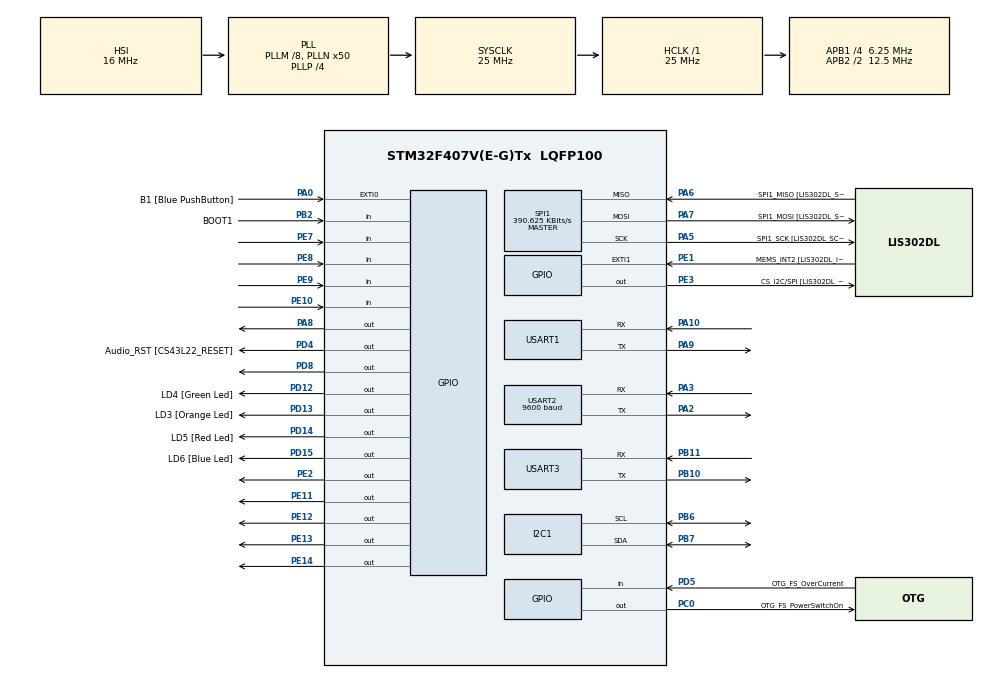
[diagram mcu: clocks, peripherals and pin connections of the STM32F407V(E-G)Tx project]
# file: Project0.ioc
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Dma.Request0=USART2_RX
Dma.USART2_RX.0.Direction=DMA_PERIPH_TO_MEMORY
Dma.USART2_RX.0.FIFOMode=DMA_FIFOMODE_DISABLE
Dma.USART2_RX.0.Instance=DMA1_Stream5
Dma.USART2_RX.0.MemDataAlignment=DMA_MDATAALIGN_BYTE
Dma.USART2_RX.0.MemInc=DMA_MINC_DISABLE
Dma.USART2_RX.0.Mode=DMA_NORMAL
Dma.USART2_RX.0.PeriphDataAlignment=DMA_PDATAALIGN_BYTE
Dma.USART2_RX.0.PeriphInc=DMA_PINC_DISABLE
Dma.USART2_RX.0.Priority=DMA_PRIORITY_LOW
Mcu.Family=STM32F4
Mcu.Name=STM32F407V(E-G)Tx
Mcu.Package=LQFP100
NVIC.DMA1_Stream5_IRQn=true\:5\:0\:true\:false\:true\:false\:true\:true
NVIC.EXTI0_IRQn=true\:0\:0\:true\:false\:true\:true\:true\:true
NVIC.PriorityGroup=NVIC_PRIORITYGROUP_4
NVIC.TIM7_IRQn=true\:0\:0\:false\:false\:true\:false\:true\:true
NVIC.TimeBase=TIM7_IRQn
NVIC.TimeBaseIP=TIM7
NVIC.USART2_IRQn=true\:5\:0\:true\:false\:true\:true\:true\:true
PA0-WKUP.GPIO_Label=B1 [Blue PushButton]
PA0-WKUP.Signal=GPXTI0
PA10.Mode=Asynchronous
PA10.Signal=USART1_RX
PA11.GPIO_Label=OTG_FS_DM
PA11.GPIO_Mode=GPIO_MODE_AF_PP
PA11.GPIO_PuPd=GPIO_NOPULL
PA11.GPIO_Speed=GPIO_SPEED_FREQ_LOW
PA11.Signal=USB_OTG_FS_DM
PA12.GPIO_Label=OTG_FS_DP
PA12.GPIO_Mode=GPIO_MODE_AF_PP
PA12.GPIO_PuPd=GPIO_NOPULL
PA12.GPIO_Speed=GPIO_SPEED_FREQ_LOW
PA12.Signal=USB_OTG_FS_DP
PA13.GPIO_Label=SWDIO
PA13.Mode=Serial_Wire
PA13.Signal=SYS_JTMS-SWDIO
PA14.GPIO_Label=SWCLK
PA14.Mode=Serial_Wire
PA14.Signal=SYS_JTCK-SWCLK
PA2.Mode=Asynchronous
PA2.Signal=USART2_TX
PA3.Mode=Asynchronous
PA3.Signal=USART2_RX
PA4.GPIO_Label=I2S3_WS [CS43L22_LRCK]
PA4.GPIO_Mode=GPIO_MODE_AF_PP
PA4.GPIO_PuPd=GPIO_NOPULL
PA4.GPIO_Speed=GPIO_SPEED_FREQ_LOW
PA4.Signal=I2S3_WS
PA5.GPIO_Label=SPI1_SCK [LIS302DL_SCL/SPC]
PA5.GPIO_Mode=GPIO_MODE_AF_PP
PA5.GPIO_PuPd=GPIO_NOPULL
PA5.GPIO_Speed=GPIO_SPEED_FREQ_LOW
PA5.Mode=Full_Duplex_Master
PA5.Signal=SPI1_SCK
PA6.GPIO_Label=SPI1_MISO [LIS302DL_SDO]
PA6.GPIO_Mode=GPIO_MODE_AF_PP
PA6.GPIO_PuPd=GPIO_NOPULL
PA6.GPIO_Speed=GPIO_SPEED_FREQ_LOW
PA6.Mode=Full_Duplex_Master
PA6.Signal=SPI1_MISO
PA7.GPIO_Label=SPI1_MOSI [LIS302DL_SDA/SDI/SDO]
PA7.GPIO_Mode=GPIO_MODE_AF_PP
PA7.GPIO_PuPd=GPIO_NOPULL
PA7.GPIO_Speed=GPIO_SPEED_FREQ_LOW
PA7.Mode=Full_Duplex_Master
PA7.Signal=SPI1_MOSI
PA8.PinState=GPIO_PIN_SET
PA8.Signal=GPIO_Output
PA9.Mode=Asynchronous
PA9.Signal=USART1_TX
PB10.Mode=Asynchronous
PB10.Signal=USART3_TX
PB11.Mode=Asynchronous
PB11.Signal=USART3_RX
PB2.GPIO_Label=BOOT1
PB2.GPIO_Mode=GPIO_MODE_INPUT
PB2.GPIO_PuPd=GPIO_NOPULL
PB2.Signal=GPIO_Input
PB3.GPIO_Label=SWO
PB3.Signal=SYS_JTDO-SWO
PB6.Mode=I2C
PB6.Signal=I2C1_SCL
PB7.Mode=I2C
PB7.Signal=I2C1_SDA
PC0.GPIO_Label=OTG_FS_PowerSwitchOn
PC0.GPIO_PuPd=GPIO_NOPULL
PC0.GPIO_Speed=GPIO_SPEED_FREQ_LOW
PC0.PinState=GPIO_PIN_SET
PC0.Signal=GPIO_Output
PC10.GPIO_Label=I2S3_SCK [CS43L22_SCLK]
PC10.GPIO_Mode=GPIO_MODE_AF_PP
PC10.GPIO_PuPd=GPIO_NOPULL
PC10.GPIO_Speed=GPIO_SPEED_FREQ_LOW
PC10.Signal=I2S3_CK
PC12.GPIO_Label=I2S3_SD [CS43L22_SDIN]
PC12.GPIO_Mode=GPIO_MODE_AF_PP
PC12.GPIO_PuPd=GPIO_NOPULL
PC12.GPIO_Speed=GPIO_SPEED_FREQ_LOW
PC12.Signal=I2S3_SD
PC14-OSC32_IN.GPIO_Label=PC14-OSC32_IN
PC14-OSC32_IN.Signal=RCC_OSC32_IN
PC15-OSC32_OUT.GPIO_Label=PC15-OSC32_OUT
PC15-OSC32_OUT.Signal=RCC_OSC32_OUT
PC3.GPIO_Label=PDM_OUT [MP45DT02_DOUT]
PC3.GPIO_Mode=GPIO_MODE_AF_PP
PC3.GPIO_PuPd=GPIO_NOPULL
PC3.GPIO_Speed=GPIO_SPEED_FREQ_LOW
PC3.Signal=I2S2_SD
PC7.GPIO_Label=I2S3_MCK [CS43L22_MCLK]
PC7.GPIO_Mode=GPIO_MODE_AF_PP
PC7.GPIO_PuPd=GPIO_NOPULL
PC7.GPIO_Speed=GPIO_SPEED_FREQ_LOW
PC7.Signal=I2S3_MCK
PD12.GPIO_Label=LD4 [Green Led]
PD12.GPIO_PuPd=GPIO_NOPULL
PD12.GPIO_Speed=GPIO_SPEED_FREQ_LOW
PD12.Signal=GPIO_Output
PD13.GPIO_Label=LD3 [Orange Led]
PD13.GPIO_PuPd=GPIO_NOPULL
PD13.GPIO_Speed=GPIO_SPEED_FREQ_LOW
PD13.Signal=GPIO_Output
PD14.GPIO_Label=LD5 [Red Led]
PD14.GPIO_PuPd=GPIO_NOPULL
PD14.GPIO_Speed=GPIO_SPEED_FREQ_LOW
PD14.Signal=GPIO_Output
PD15.GPIO_Label=LD6 [Blue Led]
PD15.GPIO_PuPd=GPIO_NOPULL
PD15.GPIO_Speed=GPIO_SPEED_FREQ_LOW
PD15.Signal=GPIO_Output
PD4.GPIO_Label=Audio_RST [CS43L22_RESET]
PD4.GPIO_PuPd=GPIO_NOPULL
PD4.GPIO_Speed=GPIO_SPEED_FREQ_LOW
PD4.Signal=GPIO_Output
PD5.GPIO_Label=OTG_FS_OverCurrent
PD5.GPIO_Mode=GPIO_MODE_INPUT
PD5.GPIO_PuPd=GPIO_NOPULL
PD5.Signal=GPIO_Input
PD8.PinState=GPIO_PIN_SET
PD8.Signal=GPIO_Output
PE1.GPIO_Label=MEMS_INT2 [LIS302DL_INT2]
PE1.GPIO_ModeDefaultEXTI=GPIO_MODE_EVT_RISING
PE1.GPIO_PuPd=GPIO_NOPULL
PE1.Signal=GPXTI1
PE10.GPIO_PuPd=GPIO_PULLUP
PE10.Signal=GPIO_Input
PE11.Signal=GPIO_Output
PE12.Signal=GPIO_Output
PE13.Signal=GPIO_Output
PE14.Signal=GPIO_Output
PE2.Signal=GPIO_Output
PE3.GPIO_Label=CS_I2C/SPI [LIS302DL_CS_I2C/SPI]
PE3.GPIO_PuPd=GPIO_NOPULL
PE3.GPIO_Speed=GPIO_SPEED_FREQ_LOW
PE3.Signal=GPIO_Output
PE7.GPIO_PuPd=GPIO_PULLUP
PE7.Signal=GPIO_Input
PE8.GPIO_PuPd=GPIO_PULLUP
PE8.Signal=GPIO_Input
PE9.GPIO_PuPd=GPIO_PULLUP
PE9.Signal=GPIO_Input
PH0-OSC_IN.GPIO_Label=PH0-OSC_IN
PH0-OSC_IN.Signal=RCC_OSC_IN
PH1-OSC_OUT.GPIO_Label=PH1-OSC_OUT
PH1-OSC_OUT.Signal=RCC_OSC_OUT
ProjectManager.HeapSize=0x200
ProjectManager.StackSize=0x400
ProjectManager.TargetToolchain=STM32CubeIDE
RCC.48MHZClocksFreq_Value=14285714.285714285
RCC.AHBFreq_Value=25000000
RCC.APB1CLKDivider=RCC_HCLK_DIV4
RCC.APB1Freq_Value=6250000
RCC.APB1TimFreq_Value=12500000
RCC.APB2CLKDivider=RCC_HCLK_DIV2
RCC.APB2Freq_Value=12500000
RCC.APB2TimFreq_Value=25000000
RCC.CortexFreq_Value=25000000
RCC.HCLKFreq_Value=25000000
RCC.HSE_VALUE=8000000
RCC.HSI_VALUE=16000000
RCC.LSE_VALUE=32768
RCC.PLLM=8
RCC.PLLN=50
RCC.PLLP=RCC_PLLP_DIV4
RCC.PLLQ=7
RCC.SYSCLKFreq_VALUE=25000000
RCC.SYSCLKSource=RCC_SYSCLKSOURCE_PLLCLK
RCC.VCOOutputFreq_Value=100000000
SPI1.BaudRatePrescaler=SPI_BAUDRATEPRESCALER_32
SPI1.CalculateBaudRate=390.625 KBits/s
SPI1.Direction=SPI_DIRECTION_2LINES
SPI1.Mode=SPI_MODE_MASTER
SPI1.VirtualType=VM_MASTER
USART1.VirtualMode=VM_ASYNC
USART2.BaudRate=9600
USART2.VirtualMode=VM_ASYNC
USART3.VirtualMode=VM_ASYNC
VP_SYS_VS_tim7.Mode=TIM7
board=STM32F407G-DISC1

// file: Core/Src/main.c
/* USER CODE BEGIN Header */
/**
  ******************************************************************************
  * @file           : main.c
  * @brief          : Main program body
  ******************************************************************************
  * @attention
  *
  * Copyright (c) 2025 STMicroelectronics.
  * All rights reserved.
  *
  * This software is licensed under terms that can be found in the LICENSE file
  * in the root directory of this software component.
  * If no LICENSE file comes with this software, it is provided AS-IS.
  *
  ******************************************************************************
  */
/* USER CODE END Header */
#include "main.h"
#include "dma.h"
#include "i2c.h"
#include "spi.h"
#include "usart.h"
#include "gpio.h"

/* USER CODE BEGIN Includes */
#include "FreeRTOS.h"
#include "task.h"
#include "queue.h"
#include "lcd1602_i2c.h"
#include "usart.h"
#include "rc522.h"
#include "card_db.h"
#include <string.h>
#include <stdio.h>
/* USER CODE END Includes */

/* USER CODE BEGIN PTD */
// NFC mode: normal or add-card
typedef enum {
    NFC_MODE_NORMAL = 0,
    NFC_MODE_ADD_CARD = 1,
    NFC_MODE_DELETE_CARD = 2
} NfcMode_t;

static volatile NfcMode_t gNfcMode = NFC_MODE_NORMAL;

typedef struct {
    char line1[17];
    char line2[17];
} LcdMsg_t;
/* USER CODE END PTD */

/* USER CODE BEGIN PD */
#define PCF8574_ADDRESS  0b01001110   // = 0x4E
/* USER CODE END PD */

/* USER CODE BEGIN PV */

#define BT_UART   huart2   // HC-05
#define DBG_UART  huart3   // TTL / PC Debug

QueueHandle_t xEventQueue;     // BT / NFC / Keypad → StateTask
QueueHandle_t xLcdQ;
QueueHandle_t xBtRxQ;

lcd1602_HandleTypeDef hlcd;
uint8_t gBtRxByte;
static volatile uint8_t gIsUnlocked = 0;

/* USER CODE END PV */

void SystemClock_Config(void);
/* USER CODE BEGIN PFP */
void vBtTask(void *argument);
void vStateTask(void *argument);
void vLcdTask(void *argument);
void vKeypadTask(void *argument);
void vNfcTask(void *argument);

carddb_status_t Nfc_AddCard(const uint8_t uid[5]);
carddb_status_t Nfc_DeleteCard(const uint8_t uid[5]);
bool           Nfc_IsAuthorized(const uint8_t uid[5]);

/* USER CODE END PFP */

int main(void)
{
HAL_Init();
SystemClock_Config();

MX_GPIO_Init();
MX_DMA_Init();
MX_I2C1_Init();
MX_SPI1_Init();
MX_USART1_UART_Init();
MX_USART2_UART_Init();
MX_USART3_UART_Init();

/* USER CODE BEGIN 2 */
const char *bootMsg = "System boot\r\n";
HAL_UART_Transmit(&huart3, (uint8_t*)bootMsg, strlen(bootMsg), HAL_MAX_DELAY);

MFRC522_Init();

uint8_t ver = Read_MFRC522(VersionReg);
uint8_t txc = Read_MFRC522(TxControlReg);
char buf[64];
int len = sprintf(buf,
                  "RC522 Ver=0x%02X, TxControl=0x%02X\r\n",
                  ver, txc);
HAL_UART_Transmit(&huart3, (uint8_t*)buf, len, HAL_MAX_DELAY);

carddb_init();

void debug_print_carddb_codes(void)
{
    char dbg[64];

    sprintf(dbg, "CARDDB_OK=%d\r\n", (int)CARDDB_OK);
    HAL_UART_Transmit(&DBG_UART, (uint8_t*)dbg, strlen(dbg), HAL_MAX_DELAY);

    sprintf(dbg, "CARDDB_ERR_FULL=%d\r\n", (int)CARDDB_ERR_FULL);
    HAL_UART_Transmit(&DBG_UART, (uint8_t*)dbg, strlen(dbg), HAL_MAX_DELAY);

    sprintf(dbg, "CARDDB_ERR_FLASH=%d\r\n", (int)CARDDB_ERR_FLASH);
    HAL_UART_Transmit(&DBG_UART, (uint8_t*)dbg, strlen(dbg), HAL_MAX_DELAY);

    sprintf(dbg, "CARDDB_ERR_NOT_FOUND=%d\r\n", (int)CARDDB_ERR_NOT_FOUND);
    HAL_UART_Transmit(&DBG_UART, (uint8_t*)dbg, strlen(dbg), HAL_MAX_DELAY);
}
debug_print_carddb_codes();
card_entry_t snapshot[CARD_DB_MAX_CARDS];
int card_cnt = carddb_get_all(snapshot, CARD_DB_MAX_CARDS);

if (card_cnt == 0)
{
    uint8_t defaultUid[5] = { 0x43, 0x0D, 0xD1, 0x13, 0x8C };
    carddb_status_t st = Nfc_AddCard(defaultUid);

    const char *msg;
    if (st == CARDDB_OK)
        msg = "CardDB empty, add default card\r\n";
    else
        msg = "CardDB empty, add default card FAILED\r\n";

    HAL_UART_Transmit(&DBG_UART, (uint8_t*)msg, strlen(msg), HAL_MAX_DELAY);
}
else
{
    const char *msg = "Whitelist loaded from CardDB\r\n";
    HAL_UART_Transmit(&DBG_UART, (uint8_t*)msg, strlen(msg), HAL_MAX_DELAY);
}

  xEventQueue = xQueueCreate(8,  sizeof(uint8_t));
  xLcdQ   = xQueueCreate(4,  sizeof(LcdMsg_t));
  xBtRxQ  = xQueueCreate(32, sizeof(uint8_t));

  if (xEventQueue == NULL || xLcdQ == NULL || xBtRxQ == NULL)
  {
      const char *err = "Queue create failed!\r\n";
      HAL_UART_Transmit(&huart3, (uint8_t*)err, strlen(err), HAL_MAX_DELAY);
      Error_Handler();
  }

  HAL_UART_Receive_DMA(&huart2, &gBtRxByte, 1);

  xTaskCreate(vBtTask,     "BT",     256, NULL, tskIDLE_PRIORITY + 2, NULL);
  xTaskCreate(vKeypadTask, "KEYPAD", 256, NULL, tskIDLE_PRIORITY + 2, NULL);
  xTaskCreate(vLcdTask,    "LCD",    256, NULL, tskIDLE_PRIORITY + 1, NULL);
  xTaskCreate(vStateTask,  "STATE",  256, NULL, tskIDLE_PRIORITY + 3, NULL);
  xTaskCreate(vNfcTask,    "NFC",    256, NULL, tskIDLE_PRIORITY + 2, NULL);

  vTaskStartScheduler();

  /* USER CODE END 2 */

  while (1)
  {
  }
}

void SystemClock_Config(void)
{
  RCC_OscInitTypeDef RCC_OscInitStruct = {0};
  RCC_ClkInitTypeDef RCC_ClkInitStruct = {0};

  /** Configure the main internal regulator output voltage
  */
  __HAL_RCC_PWR_CLK_ENABLE();
  __HAL_PWR_VOLTAGESCALING_CONFIG(PWR_REGULATOR_VOLTAGE_SCALE1);

  /** Initializes the RCC Oscillators according to the specified parameters
  * in the RCC_OscInitTypeDef structure.
  */
  RCC_OscInitStruct.OscillatorType = RCC_OSCILLATORTYPE_HSI;
  RCC_OscInitStruct.HSIState = RCC_HSI_ON;
  RCC_OscInitStruct.HSICalibrationValue = RCC_HSICALIBRATION_DEFAULT;
  RCC_OscInitStruct.PLL.PLLState = RCC_PLL_ON;
  RCC_OscInitStruct.PLL.PLLSource = RCC_PLLSOURCE_HSI;
  RCC_OscInitStruct.PLL.PLLM = 8;
  RCC_OscInitStruct.PLL.PLLN = 50;
  RCC_OscInitStruct.PLL.PLLP = RCC_PLLP_DIV4;
  RCC_OscInitStruct.PLL.PLLQ = 7;
  if (HAL_RCC_OscConfig(&RCC_OscInitStruct) != HAL_OK)
  {
    Error_Handler();
  }

  /** Initializes the CPU, AHB and APB buses clocks
  */
  RCC_ClkInitStruct.ClockType = RCC_CLOCKTYPE_HCLK|RCC_CLOCKTYPE_SYSCLK
                              |RCC_CLOCKTYPE_PCLK1|RCC_CLOCKTYPE_PCLK2;
  RCC_ClkInitStruct.SYSCLKSource = RCC_SYSCLKSOURCE_PLLCLK;
  RCC_ClkInitStruct.AHBCLKDivider = RCC_SYSCLK_DIV1;
  RCC_ClkInitStruct.APB1CLKDivider = RCC_HCLK_DIV4;
  RCC_ClkInitStruct.APB2CLKDivider = RCC_HCLK_DIV2;

  if (HAL_RCC_ClockConfig(&RCC_ClkInitStruct, FLASH_LATENCY_0) != HAL_OK)
  {
    Error_Handler();
  }
}

/* USER CODE BEGIN 4 */
#define PIN_LEN 4
const char unlockPin[PIN_LEN + 1] = "1234";
const char lockPin[PIN_LEN + 1]   = "0000";

carddb_status_t Nfc_AddCard(const uint8_t uid[5])
{
    return carddb_add(uid);
}

carddb_status_t Nfc_DeleteCard(const uint8_t uid[5])
{
    return carddb_remove(uid);
}

bool Nfc_IsAuthorized(const uint8_t uid[5])
{
    return (carddb_check(uid) != 0);
}

void RC522_TestLoop(void)
{
    uint8_t status;
    uint8_t atqa[2];
    uint8_t uid[5];
    char    msg[100];

    while (1)
    {
        status = MFRC522_Request(PICC_REQIDL, atqa);

        if (status == MI_OK)
        {
            status = MFRC522_Anticoll(uid);
            if (status == MI_OK)
            {
                int len = sprintf(msg,
                    "Card! ATQA=%02X %02X, UID=%02X %02X %02X %02X %02X\r\n",
                    atqa[0], atqa[1],
                    uid[0], uid[1], uid[2], uid[3], uid[4]);
                HAL_UART_Transmit(&huart3, (uint8_t*)msg, len, HAL_MAX_DELAY);

                HAL_Delay(500);
            }
            else
            {
                int len = sprintf(msg, "Anticoll failed, status=%d\r\n", status);
                HAL_UART_Transmit(&huart3, (uint8_t*)msg, len, HAL_MAX_DELAY);
            }
        }
        else
        {
            int len = sprintf(msg, "No card, status=%d\r\n", status);
            HAL_UART_Transmit(&huart3, (uint8_t*)msg, len, HAL_MAX_DELAY);
            HAL_Delay(500);
        }
    }
}

static char read_keypad(void)
{
    static const char keys[4][4] = {
        {'1','2','3','A'},
        {'4','5','6','B'},
        {'7','8','9','C'},
        {'*','0','#','D'}
    };

    for (int col = 0; col < 4; col++)
    {
        HAL_GPIO_WritePin(GPIOE, GPIO_PIN_11, (col == 0) ? GPIO_PIN_RESET : GPIO_PIN_SET);
        HAL_GPIO_WritePin(GPIOE, GPIO_PIN_12, (col == 1) ? GPIO_PIN_RESET : GPIO_PIN_SET);
        HAL_GPIO_WritePin(GPIOE, GPIO_PIN_13, (col == 2) ? GPIO_PIN_RESET : GPIO_PIN_SET);
        HAL_GPIO_WritePin(GPIOE, GPIO_PIN_14, (col == 3) ? GPIO_PIN_RESET : GPIO_PIN_SET);

        vTaskDelay(pdMS_TO_TICKS(3));

        if (HAL_GPIO_ReadPin(GPIOE, GPIO_PIN_7) == GPIO_PIN_RESET)  return keys[0][col];
        if (HAL_GPIO_ReadPin(GPIOE, GPIO_PIN_8) == GPIO_PIN_RESET)  return keys[1][col];
        if (HAL_GPIO_ReadPin(GPIOE, GPIO_PIN_9) == GPIO_PIN_RESET)  return keys[2][col];
        if (HAL_GPIO_ReadPin(GPIOE, GPIO_PIN_10) == GPIO_PIN_RESET) return keys[3][col];
    }

    return '\0';
}

void vKeypadTask(void *argument)
{
    char pinBuf[PIN_LEN + 1];
    uint8_t idx = 0;
    char key;
    char lastKey = '\0';
    LcdMsg_t msg;

    snprintf(msg.line1, sizeof(msg.line1), "LOCKED");
    snprintf(msg.line2, sizeof(msg.line2), "PIN: ----");
    xQueueSend(xLcdQ, &msg, 0);

    for (;;)
    {
        char curKey = read_keypad();

        if (curKey == '\0')
        {
            lastKey = '\0';
            vTaskDelay(pdMS_TO_TICKS(20));
            continue;
        }

        if (curKey == lastKey)
        {
            vTaskDelay(pdMS_TO_TICKS(20));
            continue;
        }

        lastKey = curKey;
        key = curKey;

        if (key >= '0' && key <= '9')
        {
            if (idx < PIN_LEN)
            {
                pinBuf[idx++] = key;
            }
        }
        else if (key == '*')
        {
            idx = 0;
        }
        else if (key == 'A')
        {
            if (!gIsUnlocked)
            {
                snprintf(msg.line1, sizeof(msg.line1), "LOCKED");
                snprintf(msg.line2, sizeof(msg.line2), "UNLOCK FIRST");
                xQueueSend(xLcdQ, &msg, 0);

                const char *btmsg = "DENY ADD: LOCKED\r\n";
                HAL_UART_Transmit(&BT_UART, (uint8_t *)btmsg, strlen(btmsg), HAL_MAX_DELAY);

                vTaskDelay(pdMS_TO_TICKS(800));
                snprintf(msg.line1, sizeof(msg.line1), "LOCKED");
                snprintf(msg.line2, sizeof(msg.line2), "PIN: ----");
                xQueueSend(xLcdQ, &msg, 0);
                continue;
            }

            gNfcMode = NFC_MODE_ADD_CARD;

            snprintf(msg.line1, sizeof(msg.line1), "ADD CARD MODE");
            snprintf(msg.line2, sizeof(msg.line2), "TAP CARD...");
            xQueueSend(xLcdQ, &msg, 0);

            const char *btmsg = "ENTER ADD CARD MODE\r\n";
            HAL_UART_Transmit(&BT_UART, (uint8_t *)btmsg, strlen(btmsg), HAL_MAX_DELAY);

            idx = 0;
            continue;
        }

        else if (key == 'B')
        {
            if (!gIsUnlocked)
            {
                snprintf(msg.line1, sizeof(msg.line1), "LOCKED");
                snprintf(msg.line2, sizeof(msg.line2), "UNLOCK FIRST");
                xQueueSend(xLcdQ, &msg, 0);

                const char *btmsg = "DENY DELETE: LOCKED\r\n";
                HAL_UART_Transmit(&BT_UART, (uint8_t *)btmsg, strlen(btmsg), HAL_MAX_DELAY);

                vTaskDelay(pdMS_TO_TICKS(800));
                snprintf(msg.line1, sizeof(msg.line1), "LOCKED");
                snprintf(msg.line2, sizeof(msg.line2), "PIN: ----");
                xQueueSend(xLcdQ, &msg, 0);
                continue;
            }

            gNfcMode = NFC_MODE_DELETE_CARD;

            snprintf(msg.line1, sizeof(msg.line1), "DEL CARD MODE");
            snprintf(msg.line2, sizeof(msg.line2), "TAP CARD...");
            xQueueSend(xLcdQ, &msg, 0);

            const char *btmsg = "ENTER DELETE CARD MODE\r\n";
            HAL_UART_Transmit(&BT_UART, (uint8_t*)btmsg, strlen(btmsg), HAL_MAX_DELAY);

            idx = 0;
            continue;
        }

        else if (key == 'C')
        {
            if (gIsUnlocked)
            {
                gNfcMode = NFC_MODE_NORMAL;

                uint8_t evt = '0';
                xQueueSend(xEventQueue, &evt, portMAX_DELAY);

                const char *btmsg = "KEYPAD C -> LOCK\r\n";
                HAL_UART_Transmit(&BT_UART, (uint8_t*)btmsg, strlen(btmsg), HAL_MAX_DELAY);

                idx = 0;
                vTaskDelay(pdMS_TO_TICKS(200));
            }
            else
            {
                snprintf(msg.line1, sizeof(msg.line1), "ALREADY LOCK");
                snprintf(msg.line2, sizeof(msg.line2), "PIN: ----");
                xQueueSend(xLcdQ, &msg, 0);
                vTaskDelay(pdMS_TO_TICKS(500));
            }

            continue;
        }
        else if (key == '#')
        {
            pinBuf[idx] = '\0';

            uint8_t evt;
            if (idx == PIN_LEN && strncmp(pinBuf, unlockPin, PIN_LEN) == 0)
            {
                evt = '1'; // UNLOCK
                xQueueSend(xEventQueue, &evt, portMAX_DELAY);

                const char *btmsg = "KEYPAD UNLOCK\r\n";
                HAL_UART_Transmit(&BT_UART, (uint8_t *)btmsg, strlen(btmsg), HAL_MAX_DELAY);

                snprintf(msg.line1, sizeof(msg.line1), "UNLOCK");
                snprintf(msg.line2, sizeof(msg.line2), "PIN OK");
                xQueueSend(xLcdQ, &msg, 0);

                idx = 0;
                vTaskDelay(pdMS_TO_TICKS(200));
            }
            else if (idx == PIN_LEN && strncmp(pinBuf, lockPin, PIN_LEN) == 0)
            {
                evt = '0'; // LOCK
                xQueueSend(xEventQueue, &evt, portMAX_DELAY);

                const char *btmsg = "KEYPAD LOCK\r\n";
                HAL_UART_Transmit(&BT_UART, (uint8_t *)btmsg, strlen(btmsg), HAL_MAX_DELAY);

                snprintf(msg.line1, sizeof(msg.line1), "LOCK");
                snprintf(msg.line2, sizeof(msg.line2), "PIN OK");
                xQueueSend(xLcdQ, &msg, 0);

                idx = 0;
                vTaskDelay(pdMS_TO_TICKS(200));
            }
            else
            {
                const char *btmsg = "KEYPAD WRONG PIN\r\n";
                HAL_UART_Transmit(&BT_UART, (uint8_t *)btmsg, strlen(btmsg), HAL_MAX_DELAY);

                snprintf(msg.line1, sizeof(msg.line1), "WRONG PIN");
                snprintf(msg.line2, sizeof(msg.line2), "TRY AGAIN");
                xQueueSend(xLcdQ, &msg, 0);

                idx = 0;
                vTaskDelay(pdMS_TO_TICKS(500));
                snprintf(msg.line1, sizeof(msg.line1), "LOCKED");
                snprintf(msg.line2, sizeof(msg.line2), "PIN: ----");
                xQueueSend(xLcdQ, &msg, 0);
            }

            continue;
        }

        memset(msg.line1, ' ', sizeof(msg.line1));
        memset(msg.line2, ' ', sizeof(msg.line2));
        snprintf(msg.line1, sizeof(msg.line1), "LOCKED");
        snprintf(msg.line2, sizeof(msg.line2), "PIN: ");

        for (int i = 0; i < idx && i < PIN_LEN; i++)
        {
            msg.line2[5 + i] = '*';
        }
        msg.line2[5 + PIN_LEN] = '\0';

        xQueueSend(xLcdQ, &msg, 0);
    }
}

void vNfcTask(void *argument)
{
    uint8_t status;
    uint8_t tagType[2] = {0};
    uint8_t uid[5]     = {0};
    LcdMsg_t msg;
    char dbg[80];

    HAL_UART_Transmit(&DBG_UART,
                      (uint8_t *)"NFC TASK START\r\n",
                      strlen("NFC TASK START\r\n"),
                      HAL_MAX_DELAY);

    for (;;)
    {
        // heart beat debug
        HAL_UART_Transmit(&DBG_UART,
                          (uint8_t *)"NFC: loop...\r\n",
                          strlen("NFC: loop...\r\n"),
                          HAL_MAX_DELAY);

        // 1) scan
        status = MFRC522_Request(PICC_REQIDL, tagType);

        // print status
        int len = sprintf(dbg, "NFC: Request status=%d\r\n", status);
        HAL_UART_Transmit(&DBG_UART, (uint8_t *)dbg, len, HAL_MAX_DELAY);

        if (status == MI_OK)
        {
            len = sprintf(dbg,
                          "NFC: Card detected, ATQA=%02X %02X\r\n",
                          tagType[0], tagType[1]);
            HAL_UART_Transmit(&DBG_UART, (uint8_t *)dbg, len, HAL_MAX_DELAY);

            status = MFRC522_Anticoll(uid);

            len = sprintf(dbg, "NFC: Anticoll status=%d\r\n", status);
            HAL_UART_Transmit(&DBG_UART, (uint8_t *)dbg, len, HAL_MAX_DELAY);

            if (status == MI_OK)
            {
                len = sprintf(dbg,
                              "NFC: UID=%02X %02X %02X %02X %02X\r\n",
                              uid[0], uid[1], uid[2], uid[3], uid[4]);
                HAL_UART_Transmit(&DBG_UART, (uint8_t *)dbg, len, HAL_MAX_DELAY);

                snprintf(msg.line1, sizeof(msg.line1), "CARD DETECTED");
                snprintf(msg.line2, sizeof(msg.line2),
                         "%02X%02X%02X%02X",
                         uid[0], uid[1], uid[2], uid[3]);
                xQueueSend(xLcdQ, &msg, 0);

                if (gNfcMode == NFC_MODE_ADD_CARD)
                {
                    HAL_UART_Transmit(&DBG_UART,
                                    (uint8_t *)"NFC: ADD_CARD mode\r\n",
                                    strlen("NFC: ADD_CARD mode\r\n"),
                                    HAL_MAX_DELAY);

                    carddb_status_t st = Nfc_AddCard(uid);

                    if (st == CARDDB_OK)
                    {
                        const char *btmsg = "ADD CARD OK\r\n";
                        HAL_UART_Transmit(&BT_UART,
                                        (uint8_t *)btmsg,
                                        strlen(btmsg),
                                        HAL_MAX_DELAY);

                        snprintf(msg.line1, sizeof(msg.line1), "CARD SAVED");
                        snprintf(msg.line2, sizeof(msg.line2), "UID ADDED");
                        xQueueSend(xLcdQ, &msg, 0);
                    }
                    else if (st == CARDDB_ERR_FULL)
                    {
                        const char *btmsg = "ADD FAIL: FLASH FULL\r\n";
                        HAL_UART_Transmit(&BT_UART,
                                        (uint8_t *)btmsg,
                                        strlen(btmsg),
                                        HAL_MAX_DELAY);

                        snprintf(msg.line1, sizeof(msg.line1), "ADD FAIL");
                        snprintf(msg.line2, sizeof(msg.line2), "FLASH FULL");
                        xQueueSend(xLcdQ, &msg, 0);
                    }
                    else
                    {
                        char dbg2[64];
                        int len2 = sprintf(dbg2, "ADD ERR, st=%d\r\n", (int)st);
                        HAL_UART_Transmit(&DBG_UART, (uint8_t*)dbg2, len2, HAL_MAX_DELAY);
                        const char *btmsg = "ADD FAIL: FLASH ERR\r\n";
                        HAL_UART_Transmit(&BT_UART,
                                        (uint8_t *)btmsg,
                                        strlen(btmsg),
                                        HAL_MAX_DELAY);

                        snprintf(msg.line1, sizeof(msg.line1), "ADD FAIL");
                        snprintf(msg.line2, sizeof(msg.line2), "FLASH ERR");
                        xQueueSend(xLcdQ, &msg, 0);
                    }

                    gNfcMode = NFC_MODE_NORMAL;
                    vTaskDelay(pdMS_TO_TICKS(1000));
                }

                else if (gNfcMode == NFC_MODE_DELETE_CARD)
                {
                    HAL_UART_Transmit(&DBG_UART,
                                    (uint8_t *)"NFC: DELETE_CARD mode\r\n",
                                    strlen("NFC: DELETE_CARD mode\r\n"),
                                    HAL_MAX_DELAY);

                carddb_status_t st = Nfc_DeleteCard(uid);

                if (st == CARDDB_OK)
                {
                    const char *btmsg = "DELETE OK\r\n";
                    HAL_UART_Transmit(&BT_UART,
                                    (uint8_t *)btmsg,
                                    strlen(btmsg),
                                    HAL_MAX_DELAY);

                    snprintf(msg.line1, sizeof(msg.line1), "CARD DELETED");
                    snprintf(msg.line2, sizeof(msg.line2), "SUCCESS");
                    xQueueSend(xLcdQ, &msg, 0);
                }
                else if (st == CARDDB_ERR_NOT_FOUND)
                {
                    const char *btmsg = "DELETE FAIL\r\n";
                    HAL_UART_Transmit(&BT_UART,
                                    (uint8_t *)btmsg,
                                    strlen(btmsg),
                                    HAL_MAX_DELAY);

                    snprintf(msg.line1, sizeof(msg.line1), "DELETE FAIL");
                    snprintf(msg.line2, sizeof(msg.line2), "NOT FOUND");
                    xQueueSend(xLcdQ, &msg, 0);
                }
                else
                {
                    char dbg2[64];
                    int len2 = sprintf(dbg2, "DEL ERR, st=%d\r\n", (int)st);
                    HAL_UART_Transmit(&DBG_UART, (uint8_t*)dbg2, len2, HAL_MAX_DELAY);
                    const char *btmsg = "DELETE FAIL: FLASH ERR\r\n";
                    HAL_UART_Transmit(&BT_UART,
                                    (uint8_t *)btmsg,
                                    strlen(btmsg),
                                    HAL_MAX_DELAY);

                    snprintf(msg.line1, sizeof(msg.line1), "DELETE FAIL");
                    snprintf(msg.line2, sizeof(msg.line2), "FLASH ERR");
                    xQueueSend(xLcdQ, &msg, 0);
                }

                    gNfcMode = NFC_MODE_NORMAL;
                    vTaskDelay(pdMS_TO_TICKS(800));
                }

                else
                {
                    HAL_UART_Transmit(&DBG_UART,
                                      (uint8_t *)"NFC: NORMAL mode\r\n",
                                      strlen("NFC: NORMAL mode\r\n"),
                                      HAL_MAX_DELAY);

                    if (Nfc_IsAuthorized(uid))
                    {
                        uint8_t evt = '1';
                        xQueueSend(xEventQueue, &evt, 0);

                        const char *btmsg = "NFC AUTH UNLOCK\r\n";
                        HAL_UART_Transmit(&BT_UART,
                                          (uint8_t *)btmsg,
                                          strlen(btmsg),
                                          HAL_MAX_DELAY);

                        snprintf(msg.line1, sizeof(msg.line1), "NFC UNLOCK");
                        snprintf(msg.line2, sizeof(msg.line2), "AUTHORIZED");
                        xQueueSend(xLcdQ, &msg, 0);

                        HAL_GPIO_TogglePin(GPIOD, LD6_Pin);
                        vTaskDelay(pdMS_TO_TICKS(150));
                        HAL_GPIO_TogglePin(GPIOD, LD6_Pin);

                        vTaskDelay(pdMS_TO_TICKS(800));
                    }
                    else
                    {
                        const char *btmsg = "NFC UNKNOWN CARD\r\n";
                        HAL_UART_Transmit(&BT_UART,
                                          (uint8_t *)btmsg,
                                          strlen(btmsg),
                                          HAL_MAX_DELAY);

                        snprintf(msg.line1, sizeof(msg.line1), "CARD DENIED");
                        snprintf(msg.line2, sizeof(msg.line2), "NOT AUTH");
                        xQueueSend(xLcdQ, &msg, 0);

                        vTaskDelay(pdMS_TO_TICKS(800));
                    }
                }
            }
            else
            {
                int len2 = sprintf(dbg,
                                   "NFC: Anticoll failed, status=%d\r\n",
                                   status);
                HAL_UART_Transmit(&DBG_UART, (uint8_t *)dbg, len2, HAL_MAX_DELAY);

                vTaskDelay(pdMS_TO_TICKS(300));
            }
        }
        else
        {
            vTaskDelay(pdMS_TO_TICKS(300));
        }
    }
}

void HAL_UART_RxCpltCallback(UART_HandleTypeDef *huart)
{
    if (huart == &huart2)
    {
        BaseType_t xHigherPriorityTaskWoken = pdFALSE;

        HAL_GPIO_TogglePin(GPIOD, LD4_Pin);

        xQueueSendFromISR(xBtRxQ, &gBtRxByte, &xHigherPriorityTaskWoken);

        HAL_UART_Receive_DMA(&huart2, &gBtRxByte, 1);

        portYIELD_FROM_ISR(xHigherPriorityTaskWoken);
    }
}

void I2C_ScanBus(void)
{
    char buf[32];
    HAL_UART_Transmit(&huart2,
                      (uint8_t *)"I2C SCAN START\r\n",
                      strlen("I2C SCAN START\r\n"),
                      HAL_MAX_DELAY);

    for (uint8_t addr = 1; addr < 127; addr++)
    {
        if (HAL_I2C_IsDeviceReady(&hi2c1, addr << 1, 1, 10) == HAL_OK)
        {
            int len = snprintf(buf, sizeof(buf),
                               "Found I2C device at 0x%02X\r\n", addr);
            HAL_UART_Transmit(&huart2, (uint8_t *)buf, len, HAL_MAX_DELAY);
        }
    }

    HAL_UART_Transmit(&huart2,
                      (uint8_t *)"I2C SCAN DONE\r\n",
                      strlen("I2C SCAN DONE\r\n"),
                      HAL_MAX_DELAY);
}

void vBtTask(void *argument)
{
    char    pinBuf[PIN_LEN + 1];
    uint8_t ch;
    int     idx;

    const char *hello  = "HC-05 ready\r\n";
    const char *prompt = "Enter 4-digit code:\r\n";

    HAL_UART_Transmit(&BT_UART, (uint8_t *)hello,  strlen(hello),  HAL_MAX_DELAY);
    HAL_UART_Transmit(&BT_UART, (uint8_t *)prompt, strlen(prompt), HAL_MAX_DELAY);

    for (;;)
    {
        idx = 0;

        while (1)
        {
            if (xQueueReceive(xBtRxQ, &ch, portMAX_DELAY) != pdPASS)
                continue;

            if (ch == '\r' || ch == '\n')
            {
                break;
            }

            if (ch >= '0' && ch <= '9')
            {
                if (idx < PIN_LEN)
                    pinBuf[idx++] = (char)ch;
            }
        }

        if (idx == 0)
        {
            continue;
        }

        pinBuf[idx] = '\0';

        if (idx == PIN_LEN && strncmp(pinBuf, unlockPin, PIN_LEN) == 0)
        {
            uint8_t evt = '1';
            xQueueSend(xEventQueue, &evt, portMAX_DELAY);

        }
        else if (idx == PIN_LEN && strncmp(pinBuf, lockPin, PIN_LEN) == 0)
        {
            uint8_t evt = '0';
            xQueueSend(xEventQueue, &evt, portMAX_DELAY);

            HAL_UART_Transmit(&BT_UART,
                              (uint8_t *)prompt,
                              strlen(prompt),
                              HAL_MAX_DELAY);
        }
        else
        {
            HAL_UART_Transmit(&BT_UART,
                              (uint8_t *)"WRONG\r\n",
                              strlen("WRONG\r\n"),
                              HAL_MAX_DELAY);

            HAL_UART_Transmit(&BT_UART,
                              (uint8_t *)prompt,
                              strlen(prompt),
                              HAL_MAX_DELAY);
        }
    }
}

void vLcdTask(void *argument)
{
    lcd1602_Init(&hlcd, &hi2c1, PCF8574_ADDRESS);
    lcd1602_LED(&hlcd, ENABLE);
    lcd1602_Clear(&hlcd);

    LcdMsg_t msg;

    for (;;)
    {
        if (xQueueReceive(xLcdQ, &msg, portMAX_DELAY) == pdPASS)
        {
            lcd1602_Clear(&hlcd);
            lcd1602_SetCursor(&hlcd, 0, 0);
            lcd1602_Print(&hlcd, (uint8_t*)msg.line1);
            lcd1602_SetCursor(&hlcd, 0, 1);
            lcd1602_Print(&hlcd, (uint8_t*)msg.line2);
        }
    }
}

void vStateTask(void *argument)
{
    uint8_t cmd;

    HAL_UART_Transmit(&DBG_UART,
                      (uint8_t *)"STATE TASK STARTED\r\n",
                      strlen("STATE TASK STARTED\r\n"),
                      HAL_MAX_DELAY);

    LcdMsg_t bootMsg;
    snprintf(bootMsg.line1, sizeof(bootMsg.line1), "LOCKED");
    snprintf(bootMsg.line2, sizeof(bootMsg.line2), "WAITING PIN");
    xQueueSend(xLcdQ, &bootMsg, 0);

    gIsUnlocked = false;

    for (;;)
    {
        if (xQueueReceive(xEventQueue, &cmd, portMAX_DELAY) == pdPASS)
        {
            LcdMsg_t msg;

            if (cmd == '1')
            {
                gIsUnlocked = true;

                HAL_GPIO_WritePin(GPIOD, LD4_Pin | LD5_Pin, GPIO_PIN_RESET);
                HAL_GPIO_WritePin(GPIOD, LD4_Pin, GPIO_PIN_SET);

                HAL_UART_Transmit(&DBG_UART,
                                  (uint8_t *)"STATE: UNLOCK\r\n",
                                  strlen("STATE: UNLOCK\r\n"),
                                  HAL_MAX_DELAY);

                HAL_UART_Transmit(&BT_UART,
                                  (uint8_t *)"UNLOCK\r\n",
                                  strlen("UNLOCK\r\n"),
                                  HAL_MAX_DELAY);

                snprintf(msg.line1, sizeof(msg.line1), "UNLOCK");
                snprintf(msg.line2, sizeof(msg.line2), "        ");
                xQueueSend(xLcdQ, &msg, 0);
            }
            else if (cmd == '0')  // LOCK
            {
                gIsUnlocked = false;

                HAL_GPIO_WritePin(GPIOD, LD4_Pin | LD5_Pin, GPIO_PIN_RESET);
                HAL_GPIO_WritePin(GPIOD, LD5_Pin, GPIO_PIN_SET);

                HAL_UART_Transmit(&DBG_UART,
                                  (uint8_t *)"STATE: LOCK\r\n",
                                  strlen("STATE: LOCK\r\n"),
                                  HAL_MAX_DELAY);

                HAL_UART_Transmit(&BT_UART,
                                  (uint8_t *)"LOCK\r\n",
                                  strlen("LOCK\r\n"),
                                  HAL_MAX_DELAY);

                snprintf(msg.line1, sizeof(msg.line1), "LOCK");
                snprintf(msg.line2, sizeof(msg.line2), "       ");
                xQueueSend(xLcdQ, &msg, 0);
            }
        }
    }
}

/* USER CODE END 4 */

void HAL_TIM_PeriodElapsedCallback(TIM_HandleTypeDef *htim)
{
  if (htim->Instance == TIM7) {
    HAL_IncTick();
  }
}

void Error_Handler(void)
{
  __disable_irq();
  while (1)
  {
  }
}
